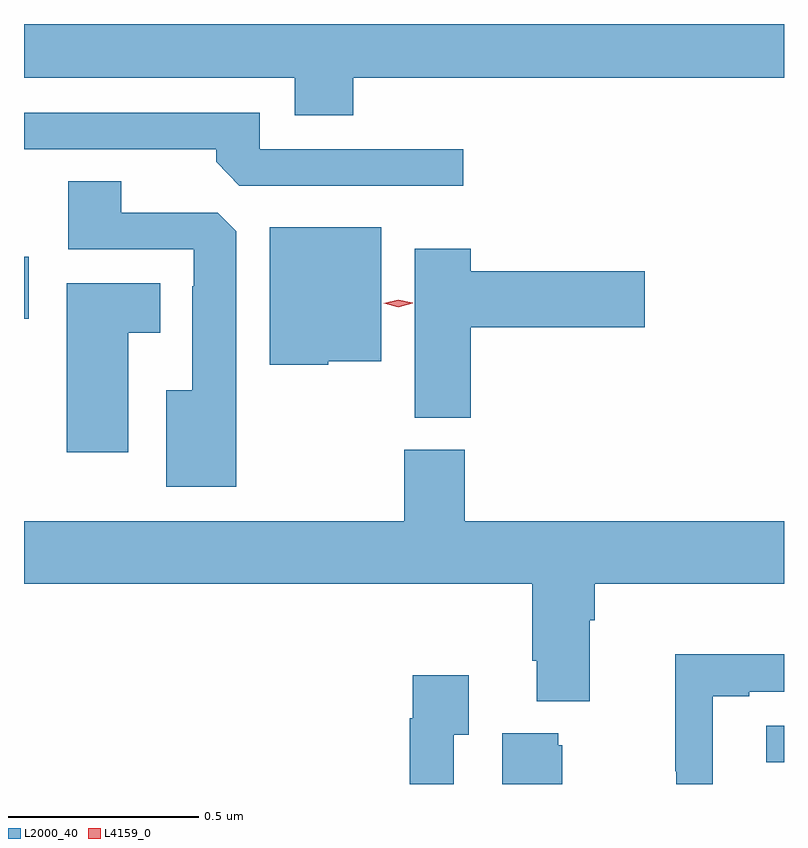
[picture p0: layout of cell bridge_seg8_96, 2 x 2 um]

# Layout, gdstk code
import gdstk
lib = gdstk.Library(unit=1e-6, precision=1e-09)
def R(c, l, rs):  # rectangles x0, y0, x1, y1
    for r in rs: c.add(gdstk.rectangle(r[:2], r[2:], *l))
def P(c, l, *ps):  # polygons
    for p in ps: c.add(gdstk.Polygon(p, *l))
L2000_40 = (2000, 40)
L4159_0 = (4159, 0)

bridge_seg8_96 = lib.new_cell('bridge_seg8_96')
R(bridge_seg8_96, L2000_40, [(769.005,1100.046,769.052,1100.142), (767.052,1101.214,767.065,1101.376)])
P(bridge_seg8_96, L2000_40, [(767.918,1101.848),(769.052,1101.848),(769.052,1101.989),(767.052,1101.989),(767.052,1101.848),(767.765,1101.848),(767.765,1101.749),(767.918,1101.749)],
  [(768.208,1101.66),(767.673,1101.66),(767.673,1101.756),(767.052,1101.756),(767.052,1101.66),(767.558,1101.66),(767.558,1101.626),(767.619,1101.564),(768.208,1101.564)],
  [(767.611,1101.443),(767.562,1101.492),(767.308,1101.492),(767.308,1101.575),(767.168,1101.575),(767.168,1101.396),(767.499,1101.396),(767.499,1101.299),(767.495,1101.299),(767.495,1101.025),(767.426,1101.025),(767.426,1100.771),(767.611,1100.771)],
  [(767.853,1101.101),(767.992,1101.101),(767.992,1101.454),(767.699,1101.454),(767.699,1101.092),(767.853,1101.092)],
  [(768.227,1101.191),(768.685,1101.191),(768.685,1101.338),(768.227,1101.338),(768.227,1101.397),(768.08,1101.397),(768.08,1100.953),(768.227,1100.953)],
  [(767.326,1101.176),(767.41,1101.176),(767.41,1101.307),(767.165,1101.307),(767.165,1100.862),(767.326,1100.862)],
  [(768.541,1100.42),(768.554,1100.42),(768.554,1100.516),(769.052,1100.516),(769.052,1100.68),(768.212,1100.68),(768.212,1100.868),(768.052,1100.868),(768.052,1100.68),(767.052,1100.68),(767.052,1100.516),(768.389,1100.516),(768.389,1100.314),(768.401,1100.314),(768.401,1100.207),(768.541,1100.207)],
  [(768.864,1100.023),(768.865,1100.023),(768.865,1100.22),(768.961,1100.22),(768.961,1100.232),(769.052,1100.232),(769.052,1100.33),(768.766,1100.33),(768.766,1100.023),(768.768,1100.023),(768.768,1099.989),(768.864,1099.989)],
  [(768.183,1100.119),(768.223,1100.119),(768.223,1100.275),(768.075,1100.275),(768.075,1100.162),(768.067,1100.162),(768.067,1099.989),(768.183,1099.989)],
  [(768.469,1100.091),(768.458,1100.091),(768.458,1100.122),(768.311,1100.122),(768.311,1099.989),(768.469,1099.989)])
P(bridge_seg8_96, L4159_0, [(768.037,1101.244),(767.999,1101.254),(767.999,1101.254),(767.999,1101.254),(768.037,1101.264),(768.075,1101.255),(768.075,1101.255),(768.075,1101.254)])

lib.write_gds('bridge_seg8_96.gds')
